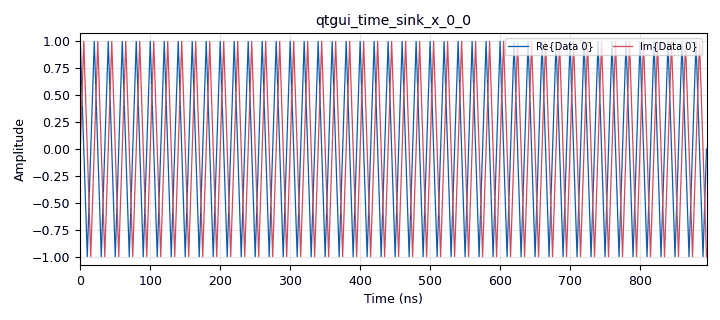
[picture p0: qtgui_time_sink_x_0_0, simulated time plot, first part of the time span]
options:
  parameters:
    generate_options: qt_gui
    id: bidirectional3
    output_language: python
    title: 'RFNoC: Bidirectional3'
  states: {}

blocks:
- name: uhd_rfnoc_graph_0
  id: uhd_rfnoc_graph
  parameters:
    dev_addr: addr=10.10.23.3
  states: {}
- name: analog_sig_source_x_0
  id: analog_sig_source_x
  parameters:
    amp: '1'
    freq: 1e5
    offset: '0'
    phase: '0'
    samp_rate: 4e5
    type: complex
    waveform: analog.GR_COS_WAVE
  states: {}
- name: blocks_copy_0
  id: blocks_copy
  parameters:
    enabled: 'True'
    type: complex
  states: {state: disabled}
- name: blocks_copy_1
  id: blocks_copy
  parameters:
    enabled: 'True'
    type: complex
  states: {}
- name: blocks_throttle_0
  id: blocks_throttle
  parameters:
    samples_per_second: 4e5
    type: complex
  states: {}
- name: qtgui_freq_sink_x_0
  id: qtgui_freq_sink_x
  parameters:
    bw: 500e3
    fc: 250e3
    fftsize: '1024'
    type: complex
  states: {state: disabled}
- name: qtgui_time_sink_x_0
  id: qtgui_time_sink_x
  parameters:
    size: '1024'
    srate: 2e8
    type: complex
  states: {state: disabled}
- name: qtgui_time_sink_x_0_0
  id: qtgui_time_sink_x
  parameters:
    size: '1024'
    srate: 2e8
    type: complex
  states: {}
- name: uhd_rfnoc_ddc_0
  id: uhd_rfnoc_ddc
  parameters:
    freq: '0'
    instance_index: '0'
    output_rate: 100e3
  states: {state: disabled}
- name: uhd_rfnoc_duc_0
  id: uhd_rfnoc_duc
  parameters:
    freq: '0'
    input_rate: 400e3
    instance_index: '0'
  states: {}
- name: uhd_rfnoc_rx_radio_0
  id: uhd_rfnoc_rx_radio
  parameters:
    agc: Enabled
    antenna: RX2
    bandwidth: 200e6
    block_args: spp=128
    dc_offset: 'True'
    frequency: 1e9
    gain: '32'
    instance_index: '0'
    iq_balance: 'True'
    rate: 200e6
  states: {state: disabled}
- name: uhd_rfnoc_rx_streamer_0
  id: uhd_rfnoc_rx_streamer
  parameters:
    otw: sc16
    output_type: fc32
  states: {state: disabled}
- name: uhd_rfnoc_tx_radio_0
  id: uhd_rfnoc_tx_radio
  parameters:
    agc: Enabled
    antenna: TX/RX
    bandwidth: 200e6
    frequency: 1e9
    gain: '20'
    instance_index: '0'
    rate: 200e6
  states: {}
- name: uhd_rfnoc_tx_streamer_0
  id: uhd_rfnoc_tx_streamer
  parameters:
    input_type: fc32
    otw: sc16
  states: {}

connections:
- [analog_sig_source_x_0, '0', blocks_throttle_0, '0']
- [blocks_copy_0, '0', qtgui_freq_sink_x_0, '0']
- [blocks_copy_0, '0', qtgui_time_sink_x_0, '0']
- [blocks_copy_1, '0', qtgui_time_sink_x_0_0, '0']
- [blocks_copy_1, '0', uhd_rfnoc_tx_streamer_0, '0']
- [blocks_throttle_0, '0', blocks_copy_1, '0']
- [uhd_rfnoc_ddc_0, '0', uhd_rfnoc_rx_streamer_0, '0']
- [uhd_rfnoc_duc_0, '0', uhd_rfnoc_tx_radio_0, '0']
- [uhd_rfnoc_rx_radio_0, '0', uhd_rfnoc_ddc_0, '0']
- [uhd_rfnoc_rx_streamer_0, '0', blocks_copy_0, '0']
- [uhd_rfnoc_tx_streamer_0, '0', uhd_rfnoc_duc_0, '0']

metadata:
  file_format: 1
  grc_version: v3.9.6.0-2-gbf9b25e7
